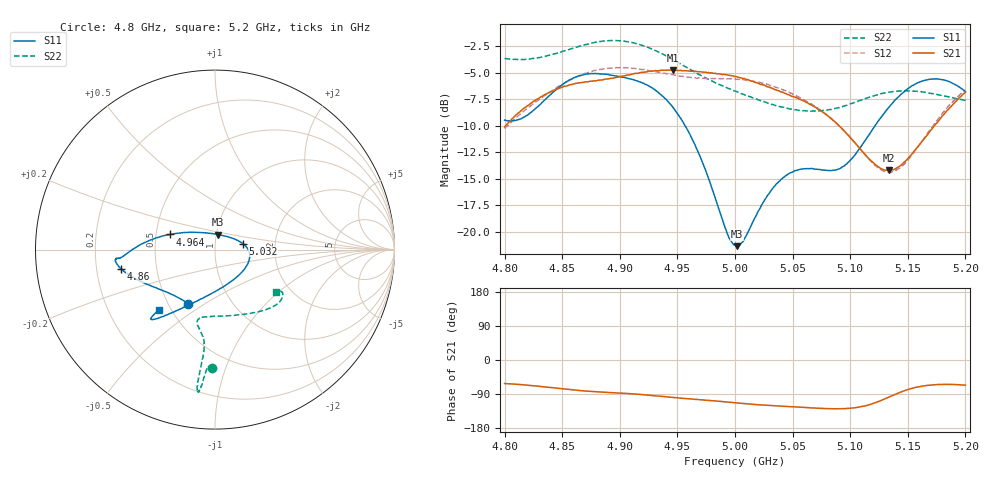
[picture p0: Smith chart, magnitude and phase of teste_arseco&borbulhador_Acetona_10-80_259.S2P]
! Network Analyzer HP8722D
! Hewlett-Packard
! Data name: Linha & Wilkinson
! Saver's name: Rodrigo Anjos
! Comments: Teste da utilização de aquisição
! continua pelo VNA HP8722D
! Time and date: 17/4/2025 16:31
!  Frequency  S11  S21  S12  S22
# HZ  S  MA R 50
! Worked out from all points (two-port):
!   401 points, 4.8 GHz to 5.2 GHz, reference 50 ohm
!   highest |S21| = -4.72 dB at 4.946 GHz (marker M1); lowest = -14.2 dB at 5.134 GHz (marker M2)
!   |S21| within 3 dB of the highest: 4.825 GHz to 5.061 GHz (236.5 MHz wide, 4.78 % of centre); 5.191369 GHz to end of sweep
!   lowest |S11| = -21.3 dB at 5.002 GHz (marker M3), VSWR 1.19, Z = 51.1 + j8.62 ohm
!   |S11| at or under -10 dB: 4.957 GHz to 5.121 GHz (164.6 MHz wide, 3.27 % of centre)
!   |S22| runs from -8.6 to -1.9 dB; largest |S21 - S12| = 0.87
!   S11 on the Smith chart (normalised r, x): 4.8 GHz: 0.63, -0.43; 4.86 GHz: 0.31, -0.09; 4.964 GHz: 0.59, +0.11; 5.032 GHz: 1.36, +0.09; 5.2 GHz: 0.43, -0.36
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4.8e9  0.3366 -116.5  0.3128 -62.1  0.3073 -176.4  0.6575 -91.3
4.818e9  0.3507 -135.7  0.3868 -66.0  0.3768 -175.9  0.6514 -92.9
4.86e9  0.5335 -168.2  0.4986 -79.0  0.5301 -179.2  0.7363 -95.3
4.867e9  0.5484 -170.9  0.5073 -81.1  0.5518 179.6  0.757 -95.6
4.899e9  0.5412 -175.0  0.5368 -87.2  0.5944 173.3  0.7973 -97.0
4.934e9  0.4521 179.3  0.576 -95.4  0.5674 170.2  0.7032 -97.2
4.946e9  0.3874 173.8  0.5807 -98.8  0.5504 170.5  0.6502 -96.8
4.964e9  0.2667 161.6  0.5729 -103.4  0.5333 172.1  0.5716 -96.3
4.993e9  0.09943 112.5  0.5504 -110.9  0.5269 174.4  0.4785 -98.8
5e9  0.08643 86.0  0.5405 -113.0  0.5261 174.4  0.4615 -100.1
5.002e9  0.08569 77.8  0.5383 -113.5  0.5246 174.4  0.4578 -100.6
5.008e9  0.09256 56.1  0.5294 -115.1  0.5207 174.2  0.4438 -101.7
5.032e9  0.1586 12.3  0.4755 -120.4  0.4881 173.3  0.3991 -103.7
5.047e9  0.1886 -2.2  0.4432 -122.9  0.455 172.5  0.3805 -99.8
5.067e9  0.1991 -23.3  0.3951 -126.3  0.3988 172.3  0.3719 -88.6
5.096e9  0.2078 -73.7  0.2947 -128.1  0.295 174.7  0.3944 -66.1
5.121e9  0.3134 -111.2  0.2094 -113.8  0.2074 -168.7  0.4394 -49.5
5.134e9  0.3898 -121.0  0.1951 -97.5  0.1907 -150.5  0.4563 -43.3
5.148e9  0.4652 -127.3  0.2159 -80.1  0.2118 -130.2  0.4632 -38.1
5.168e9  0.5233 -131.8  0.2924 -66.8  0.2965 -113.1  0.4515 -33.4
5.184e9  0.5156 -133.1  0.3734 -64.4  0.3851 -108.7  0.435 -32.3
5.2e9  0.4583 -133.1  0.4554 -66.6  0.4667 -108.7  0.4168 -34.8
